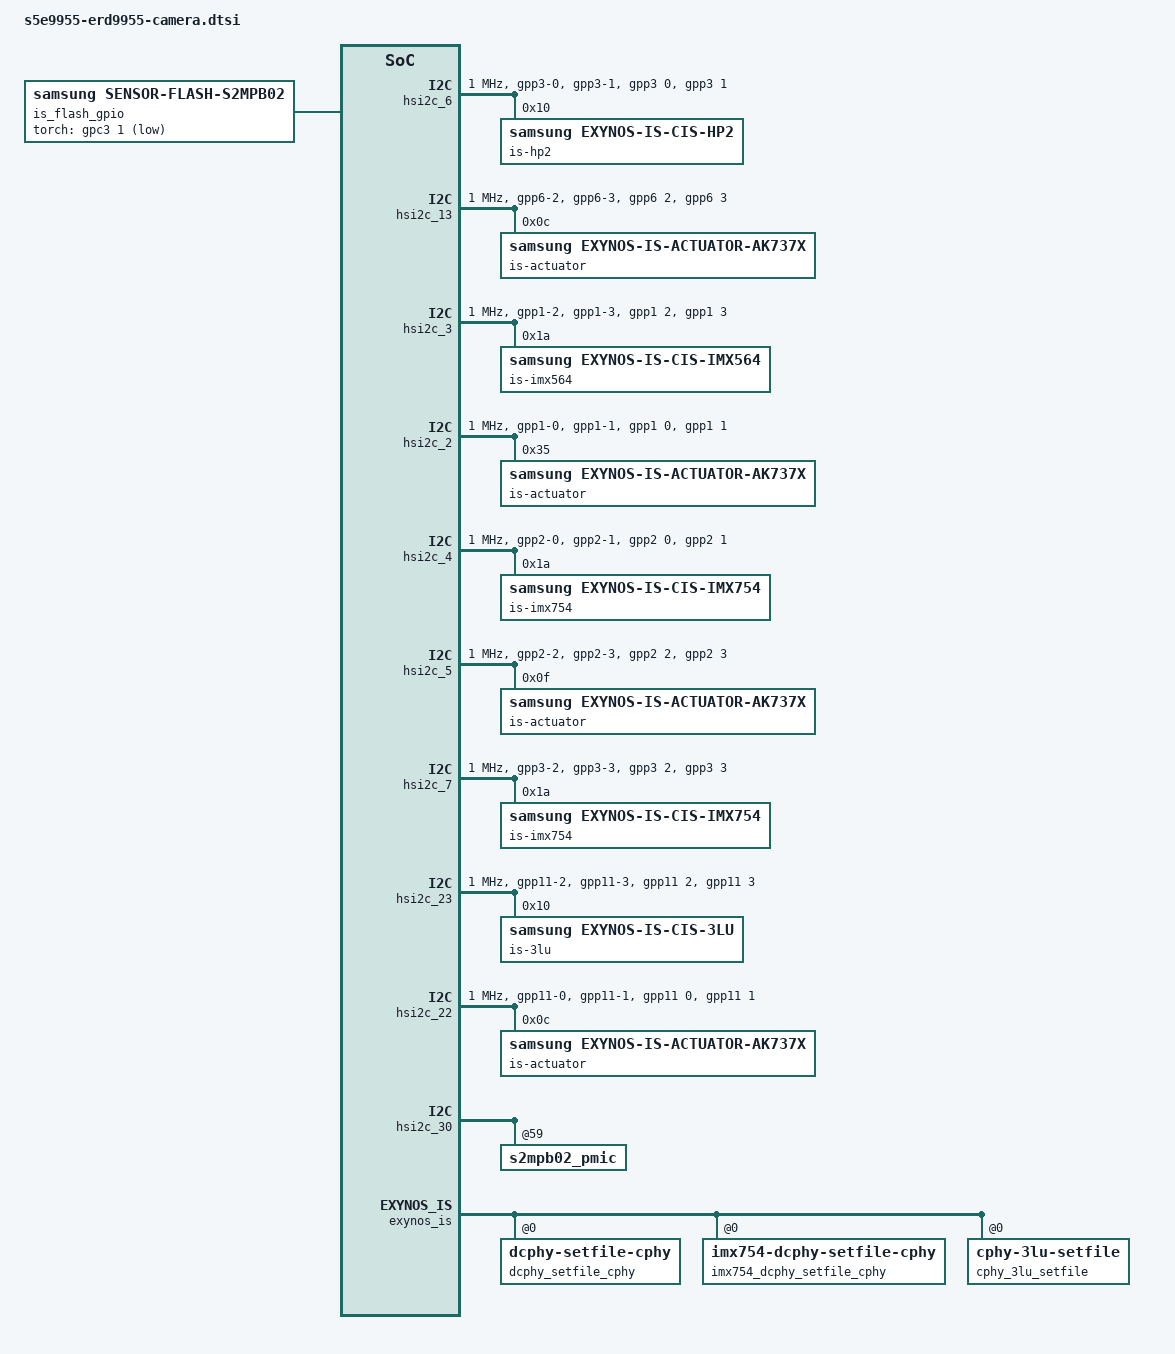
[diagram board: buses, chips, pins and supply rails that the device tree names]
// SPDX-License-Identifier: GPL-2.0
/*
 * Samsung Exynos SoC series Pablo driver
 *
 * Copyright (c) 2024 Samsung Electronics Co., Ltd
 *
 * This program is free software; you can redistribute it and/or modify
 * it under the terms of the GNU General Public License version 2 as
 * published by the Free Software Foundation.
 */

#include <dt-bindings/camera/exynos_is_dt.h>

#include "module_hp2.dtsi"
#include "module_imx754.dtsi"
#include "module_imx754_mirrorflip.dtsi"
#include "module_imx564.dtsi"
#include "module_3lu.dtsi"

/ {
	fragment@camera {
		target-path = "/";
		__overlay__ {
			#address-cells = <2>;
			#size-cells = <1>;
			interrupt-parent = <&gic>;

			is_flash_gpio: is-flash-gpio@0 {
				compatible = "samsung,sensor-flash-s2mpb02";
				sensor-module = <&is_sensor_hp2>,
						<&is_sensor_imx564>,
						<&is_sensor_imx754>,
						<&is_sensor_imx754_mirrorflip>;
				id = <0 4 2 3>;
				status = "okay";

				torch-gpio = <&gpc3 1 0x1>;
			};

			is_sensor_hp2: is_sensor_hp2@20 {
				modes {
						/* common = <width, height, fps, settle, mode, lane, speed, interleave, lrte, pd_mode> */
						/* vcX = <map, hwformat, width, height, hwformat, type, width, height> */
					mode10 { /* B-01 SENSOR_HP2_8160x6120_30FPS_4SUM */
						common = <8160 6120 30 0 10 CSI_DATA_LANES_3 3712 CSI_MODE_VC_DT LRTE_DISABLE PD_MOD3>;
						vc0 = </* in */ 0 HW_FORMAT_RAW10 DATA_IMG 8160 6120		/* out */ HW_FORMAT_RAW10 VC_NOTHING 8160 6120>;
						vc1 = </* in */ 2 HW_FORMAT_UNKNOWN DATA_NONE 0 0			/* out */ HW_FORMAT_UNKNOWN VC_NOTHING 0 0>;
						vc2 = </* in */ 1 HW_FORMAT_RAW10_POTF DATA_HPD 4080 764	/* out */ HW_FORMAT_RAW10_POTF_PACK VC_TAILPDAF 4080 764>;
						vc3 = </* in */ 3 HW_FORMAT_UNKNOWN DATA_NONE 0 0			/* out */ HW_FORMAT_UNKNOWN VC_NOTHING 0 0>;
						option { votf = <0>; special_mode = <IS_SPECIAL_MODE_REMOSAIC>; hw_bns = <HW_BNS_2_0>; };
					};
				};

				power_seq {
					scenario_normal_on {
						10 {
							pname = "sen_rst low";
							pin = <PIN_OUTPUT 0 0>;
							gpio = <&gpp5 0 0x1>;
						};
						110 {
							pname = "sen_rst high";
							pin = <PIN_OUTPUT 1 7870>;
							gpio = <&gpp5 0 0x1>;
						};
					};

					scenario_vision_on {
						10 {
							pname = "sen_rst low";
							pin = <PIN_OUTPUT 0 0>;
							gpio = <&gpp5 0 0x1>;
						};
						110 {
							pname = "sen_rst high";
							pin = <PIN_OUTPUT 1 7870>;
							gpio = <&gpp5 0 0x1>;
						};
					};

					scenario_normal_off {
						50 {
							pname = "(retention) sen_rst low";
							pin = <PIN_OUTPUT 0 10>;
							gpio = <&gpp5 0 0x1>;
						};
					};

					scenario_vision_off {
						50 {
							pname = "(retention) sen_rst low";
							pin = <PIN_OUTPUT 0 10>;
							gpio = <&gpp5 0 0x1>;
						};
					};

					scenario_retention_on {
						50 {
							pname = "(retention) sen_rst low";
							pin = <PIN_OUTPUT 0 10>;
							gpio = <&gpp5 0 0x1>;
						};
					};
				};
			};

			is_sensor_imx564: is_sensor_imx564@1A {
				power_seq {
					scenario_normal_on {
						10 {
							pname = "sen_rst low";
							pin = <PIN_OUTPUT 0 0>;
							gpio = <&gpp5 1 0x1>;
						};
						80 {
							pname = "sen_rst high";
							pin = <PIN_OUTPUT 1 0>;
							gpio = <&gpp5 1 0x1>;
						};
					};

					scenario_vision_on {
						10 {
							pname = "sen_rst low";
							pin = <PIN_OUTPUT 0 0>;
							gpio = <&gpp5 1 0x1>;
						};
						80 {
							pname = "sen_rst high";
							pin = <PIN_OUTPUT 1 0>;
							gpio = <&gpp5 1 0x1>;
						};
					};

					scenario_normal_off {
						10 {
							pname = "sen_rst low";
							pin = <PIN_OUTPUT 0 0>;
							gpio = <&gpp5 1 0x1>;
						};
					};

					scenario_vision_off {
						10 {
							pname = "sen_rst low";
							pin = <PIN_OUTPUT 0 0>;
							gpio = <&gpp5 1 0x1>;
						};
					};
				};
			};

			is_sensor_imx754: is_sensor_imx754@1A {
				power_seq {
					scenario_normal_on {
						80 {
							pname = "sen_rst high";
							pin = <PIN_OUTPUT 1 2400>;
							gpio = <&gpp5 2 0x1>;
						};
					};

					scenario_vision_on {
						80 {
							pname = "sen_rst high";
							pin = <PIN_OUTPUT 1 2400>;
							gpio = <&gpp5 2 0x1>;
						};
					};

					scenario_normal_off {
						10 {
							pname = "sen_rst low";
							pin = <PIN_OUTPUT 0 1800>;
							gpio = <&gpp5 2 0x1>;
						};
					};

					scenario_vision_off {
						10 {
							pname = "sen_rst low";
							pin = <PIN_OUTPUT 0 1800>;
							gpio = <&gpp5 2 0x1>;
						};
					};
				};
			};

			is_sensor_imx754_mirrorflip: is_sensor_imx754_mirrorflip@1A {
				power_seq {
					scenario_normal_on {
						70 {
							pname = "sen_rst high";
							pin = <PIN_OUTPUT 1 2400>;
							gpio = <&gpp5 3 0x1>;
						};
					};

					scenario_vision_on {
						70 {
							pname = "sen_rst high";
							pin = <PIN_OUTPUT 1 2400>;
							gpio = <&gpp5 3 0x1>;
						};
					};

					scenario_normal_off {
						10 {
							pname = "sen_rst_low";
							pin = <PIN_OUTPUT 0 1800>;
							gpio = <&gpp5 3 0x1>;
						};
					};

					scenario_vision_off {
						10 {
							pname = "sen_rst_low";
							pin = <PIN_OUTPUT 0 1800>;
							gpio = <&gpp5 3 0x1>;
						};
					};
				};
			};

			is_sensor_3lu: is_sensor_3lu@10 {
				sensor_i2c_ch = <6>; /* SENSOR_CONTROL_I2C6 */

				/* peri*/
				af {
					i2c_ch = <7>; /* SENSOR_CONTROL_I2C7 */
				};

				power_seq {
					scenario_normal_on {
						60 {
							pname = "rst_high";
							pin = <PIN_OUTPUT 1 0>;
							gpio = <&gpc3 0 0x1>;
						};
					};

					scenario_vision_on {
						60 {
							pname = "rst_high";
							pin = <PIN_OUTPUT 1 0>;
							gpio = <&gpc3 0 0x1>;
						};
					};

					scenario_normal_off {
						50 {
							pname = "rst_low";
							pin = <PIN_OUTPUT 0 0>;
							gpio = <&gpc3 0 0x1>;
						};
					};

					scenario_vision_off {
						50 {
							pname = "rst_low";
							pin = <PIN_OUTPUT 0 0>;
							gpio = <&gpc3 0 0x1>;
						};
					};
				};
			};

			/* REAR CAMERA */
			is_sensor0: is_sensor0@23880000 {
				reg = <0x0 0x23890000 0x1000>, /* MIPI-CSI1 */
					<0x0 0x238F0000 0x4000>, /* PHY: M0S4S4S4S4S4S4_S22 */
					<0x0 0x239D022C 0x10>, /* CSIS_FRO */
					<0x0 0x239D02A8 0x4>; /* EMB_LC MUX */
				scenario = <SENSOR_SCENARIO_NORMAL>; /* Normal, Vision, OIS etc */

				id = <0>;
				csi_ch = <1>;
				status = "okay";
				use_cphy = <1>;

				interrupts = <0 INTREQ__CSIS1 IRQ_TYPE_LEVEL_HIGH>; /* MIPI-CSI1 */
				phys = <&mipi_dcphy_csis1_m0s4s4s4s4s4s4_s22>;
				phy_setfile = <&dcphy_setfile_cphy>;
			};

			/* FRONT CAMERA */
			is_sensor1: is_sensor1@23890000 {
				reg = <0x0 0x23880000 0x1000>, /* MIPI-CSI0 */
					<0x0 0x238F0000 0x4000>, /* PHY: M0S4S4S4S4S4S4_S22 */
					<0x0 0x239D022C 0x10>, /* CSIS_FRO */
					<0x0 0x239D02A4 0x4>; /* EMB_LC MUX */
				scenario = <SENSOR_SCENARIO_NORMAL>; /* Normal, Vision, OIS etc */
				id = <1>;
				csi_ch = <0>;
				status = "okay";
				use_cphy = <1>;
				scramble = <1>; /* need to sync with sensor setting */

				interrupts = <0 INTREQ__CSIS0 IRQ_TYPE_LEVEL_HIGH>; /* MIPI-CSI0 */
				phys = <&mipi_dcphy_csis0_m0s4s4s4s4s4s4_s22>;
				phy_setfile = <&cphy_3lu_setfile>;
			};

			/* Tele x3 CAMERA */
			is_sensor2: is_sensor2@238A0000 {
				reg = <0x0 0x238A0000 0x1000>, /* MIPI-CSI2 */
					<0x0 0x238F0000 0x4000>, /* PHY: M0S4S4S4S4S4S4_S22 */
					<0x0 0x239D022C 0x10>, /* CSIS_FRO */
					<0x0 0x239D02AC 0x4>; /* EMB_LC MUX */
				scenario = <SENSOR_SCENARIO_NORMAL>; /* Normal, Vision, OIS etc */
				id = <2>;
				csi_ch = <2>;
				status = "okay";
				use_cphy = <1>;

				interrupts = <0 INTREQ__CSIS2 IRQ_TYPE_LEVEL_HIGH>; /* MIPI-CSI2 */
				phys = <&mipi_dcphy_csis2_m0s4s4s4s4s4s4_s22>;
				phy_setfile = <&imx754_dcphy_setfile_cphy>;
			};

			/* Tele x10 CAMERA */
			is_sensor3: is_sensor3@238B0000 {
				reg = <0x0 0x238C0000 0x1000>, /* MIPI-CSI4 */
					<0x0 0x238F0000 0x4000>, /* PHY: M0S4S4S4S4S4S4_S22 */
					<0x0 0x239D022C 0x10>, /* CSIS_FRO */
					<0x0 0x239D02B4 0x4>; /* EMB_LC MUX */
				scenario = <SENSOR_SCENARIO_NORMAL>; /* Normal, Vision, OIS etc */
				id = <3>;
				csi_ch = <4>;
				status = "okay";
				use_cphy = <1>;

				interrupts = <0 INTREQ__CSIS4 IRQ_TYPE_LEVEL_HIGH>; /* MIPI-CSI4 */
				phys = <&mipi_dcphy_csis4_m0s4s4s4s4s4s4_s22>;
				phy_setfile = <&dcphy_setfile_cphy>;
			};

			/* ULTRA WIDE CAMERA */
			is_sensor4: is_sensor4@238C0000 {
				reg = <0x0 0x238B0000 0x1000>, /* MIPI-CSI3 */
					<0x0 0x238F0000 0x4000>, /* PHY: M0S4S4S4S4S4S4_S22 */
					<0x0 0x239D022C 0x10>, /* CSIS_FRO */
					<0x0 0x239D02B0 0x4>; /* EMB_LC MUX */
				scenario = <SENSOR_SCENARIO_NORMAL>; /* Normal, Vision, OIS etc */
				id = <4>;
				csi_ch = <3>;
				status = "okay";
				use_cphy = <1>;

				interrupts = <0 INTREQ__CSIS3 IRQ_TYPE_LEVEL_HIGH>; /* MIPI-CSI3 */
				phys = <&mipi_dcphy_csis3_m0s4s4s4s4s4s4_s22>;
				phy_setfile = <&dcphy_setfile_cphy>;
			};

			is_sensor5: is_sensor5@238D0000 {
				scenario = <SENSOR_SCENARIO_NORMAL>; /* Normal, Vision, OIS etc */
				id = <1>;
				csi_ch = <1>;
				status = "disabled";
			};
		}; /* end of __overlay__ */
	}; /* end of fragment */
}; /* end of root */

/***** reference symbol node *****/
&pinctrl_7 {
	/* REAR WIDE */
	hsi2c6_bus_in: hsi2c6-bus-in {
		samsung,pins = "gpp3-0", "gpp3-1";
		samsung,pin-function = <0>;
		samsung,pin-pud = <0>;
		samsung,pin-drv = <0>;
	};

	/* REAR AF*/
	hsi2c13_bus_in: hsi2c13-bus-in {
		samsung,pins = "gpp6-2", "gpp6-3";
		samsung,pin-function = <0>;
		samsung,pin-pud = <0>;
		samsung,pin-drv = <0>;
	};

	/* REAR UW */
	hsi2c3_bus_in: hsi2c3-bus-in {
		samsung,pins = "gpp1-2", "gpp1-3";
		samsung,pin-function = <0>;
		samsung,pin-pud = <0>;
		samsung,pin-drv = <0>;
	};

	/* REAR UW AF*/
	hsi2c2_bus_in: hsi2c2-bus-in {
		samsung,pins = "gpp1-0", "gpp1-1";
		samsung,pin-function = <0>;
		samsung,pin-pud = <0>;
		samsung,pin-drv = <0>;
	};

	/* REAR TELE 3x */
	hsi2c4_bus_in: hsi2c4-bus-in {
		samsung,pins = "gpp2-0", "gpp2-1";
		samsung,pin-function = <0>;
		samsung,pin-pud = <0>;
		samsung,pin-drv = <0>;
	};

	/* Tele 3x AF */
	hsi2c5_bus_in: hsi2c5-bus-in {
		samsung,pins = "gpp2-2", "gpp2-3";
		samsung,pin-function = <0>;
		samsung,pin-pud = <0>;
		samsung,pin-drv = <0>;
	};

	/* Tele 10x */
	hsi2c7_bus_in: hsi2c7-bus-in {
		samsung,pins = "gpp3-2", "gpp3-3";
		samsung,pin-function = <0>;
		samsung,pin-pud = <0>;
		samsung,pin-drv = <0>;
	};

	/* Tele 10x AF */
	hsi2c12_bus_in: hsi2c12-bus-in {
		samsung,pins = "gpp6-0", "gpp6-1";
		samsung,pin-function = <0>;
		samsung,pin-pud = <0>;
		samsung,pin-drv = <0>;
	};

	/* FRONT */
	hsi2c23_bus_in: hsi2c23_bus_in-bus-in {
		samsung,pins = "gpp11-2", "gpp11-3";
		samsung,pin-function = <0>;
		samsung,pin-pud = <0>;
		samsung,pin-drv = <0>;
	};

	/* FRONT AF*/
	hsi2c22_bus_in: hsi2c22-bus-in {
		samsung,pins = "gpp11-0", "gpp11-1";
		samsung,pin-function = <0>;
		samsung,pin-pud = <0>;
		samsung,pin-drv = <0>;
	};
};

&hsi2c_6 {
	#address-cells = <1>;
	#size-cells = <0>;
	gpios = <&gpp3 0 0 &gpp3 1 0>;
	status = "okay";
	clock-frequency = <1000000>;
	samsung,reset-before-trans;
	samsung,fast-plus-mode;

	pinctrl-names = "default","on_i2c","off_i2c";
	pinctrl-0 = <&hsi2c6_bus_in>;
	pinctrl-1 = <&hsi2c6_bus>;
	pinctrl-2 = <&hsi2c6_bus_in>;

	is-hp2@10 {
		compatible = "samsung,exynos-is-cis-hp2";
		sensor-module = <&is_sensor_hp2>;
		reg = <0x10>; /* 1 bit right shift */
		id = <0>; /* matching is_sensor id */
		setfile = "setA";
		rev_reg = <0x0002 2 0xB000>;
	};
};

&hsi2c_13 {
	#address-cells = <1>;
	#size-cells = <0>;
	gpios = <&gpp6 2 0 &gpp6 3 0>;
	status = "okay";
	clock-frequency = <1000000>;
	samsung,reset-before-trans;
	samsung,fast-plus-mode;

	pinctrl-names = "default","on_i2c","off_i2c";
	pinctrl-0 = <&hsi2c13_bus_in>;
	pinctrl-1 = <&hsi2c13_bus>;
	pinctrl-2 = <&hsi2c13_bus_in>;

	is-actuator@C { /* wide AF */
		compatible = "samsung,exynos-is-actuator-ak737x";
		sensor-module = <&is_sensor_hp2>;
		reg = <0x0C>;
		id = <0>; /* matching is_sensor id */
		/* AK7314: addr 0xF3, data 0x19 */
		vendor_product_id = <0xF3 0x13 0xF3 0x19>;
		vendor_first_pos = <2000>;  /* 12bits */
		vendor_first_delay = <2000>;
		vendor_soft_landing_seqid = <3>;
		vendor_soft_landing_list = <640 30 64 30>; /* 1st_pos delay 2nd_pos delay */
		vendor_use_sleep_mode;
		vendor_use_standby_mode; /* AK7314 with vendor_use_sleep_mode */
		/* delay settings for AK7314 */
		vendor_sleep_to_standby_delay = <2200>;
		vendor_active_to_standby_delay = <300>;
	};
};

&hsi2c_3 {
	#address-cells = <1>;
	#size-cells = <0>;
	gpios = <&gpp1 2 0 &gpp1 3 0>;
	status = "okay";
	clock-frequency = <1000000>;
	samsung,reset-before-trans;
	samsung,fast-plus-mode;

	pinctrl-names = "default","on_i2c","off_i2c";
	pinctrl-0 = <&hsi2c3_bus_in>;
	pinctrl-1 = <&hsi2c3_bus>;
	pinctrl-2 = <&hsi2c3_bus_in>;

	is-imx564@1A { /* ultrawide */
		compatible = "samsung,exynos-is-cis-imx564";
		sensor-module = <&is_sensor_imx564>;
		reg = <0x1A>; /* 1 bit right shift */
		id = <4>; /* matching is_sensor id */
		setfile = "setA";
		status = "okay";
		rev_reg = <0x36F2 2 0x564D>;
		vendor_use_adaptive_mipi;
	};
};

&hsi2c_2 {
	#address-cells = <1>;
	#size-cells = <0>;
	gpios = <&gpp1 0 0 &gpp1 1 0>;
	status = "okay";
	clock-frequency = <1000000>;
	samsung,reset-before-trans;
	samsung,fast-plus-mode;

	pinctrl-names = "default","on_i2c","off_i2c";
	pinctrl-0 = <&hsi2c2_bus_in>;
	pinctrl-1 = <&hsi2c2_bus>;
	pinctrl-2 = <&hsi2c2_bus_in>;

	is-actuator@35 { /* uwide AF */
		compatible = "samsung,exynos-is-actuator-ak737x";
		reg = <0x35>;
		sensor-module = <&is_sensor_imx564>;
		id = <4>; /* matching is_sensor id */
		/* DW9825A */
		vendor_product_id = <0xF3 0x0E>;
		vendor_first_pos = <960>;  /* 12bits */
		vendor_first_delay = <2000>;
		vendor_use_sleep_mode;
		vendor_use_standby_mode; /* with vendor_use_sleep_mode */
		/* delay settings for DW9825A */
		vendor_sleep_to_standby_delay = <3000>;
		vendor_active_to_standby_delay = <300>;
	};
};

&hsi2c_4 {
	#address-cells = <1>;
	#size-cells = <0>;
	gpios = <&gpp2 0 0 &gpp2 1 0>;
	status = "okay";
	clock-frequency = <1000000>;
	samsung,reset-before-trans;
	samsung,fast-plus-mode;

	pinctrl-names = "default","on_i2c","off_i2c";
	pinctrl-0 = <&hsi2c4_bus_in>;
	pinctrl-1 = <&hsi2c4_bus>;
	pinctrl-2 = <&hsi2c4_bus_in>;

	is-imx754@1A { /* tele x3 */
		compatible = "samsung,exynos-is-cis-imx754";
		sensor-module = <&is_sensor_imx754>;
		reg = <0x1A>; /* 1 bit right shift */
		id = <2>; /* matching is_sensor id */
		setfile = "setA";
		rev_reg = <0x0018 1 0x30>;
		vendor_use_adaptive_mipi;
	};
};

&hsi2c_5 {
	#address-cells = <1>;
	#size-cells = <0>;
	gpios = <&gpp2 2 0 &gpp2 3 0>;
	status = "okay";
	clock-frequency = <1000000>;
	samsung,reset-before-trans;
	samsung,fast-plus-mode;

	pinctrl-names = "default","on_i2c","off_i2c";
	pinctrl-0 = <&hsi2c5_bus_in>;
	pinctrl-1 = <&hsi2c5_bus>;
	pinctrl-2 = <&hsi2c5_bus_in>;

	is-actuator@F { /* tele 3x AF */
		compatible = "samsung,exynos-is-actuator-ak737x";
		sensor-module = <&is_sensor_imx754>;
		reg = <0x0F>;
		id = <2>; /* matching is_sensor id */
		/* DW9825A */
		vendor_product_id = <0xF3 0x0E 0xF3 0x00 0xF3 0x19 0xF3 0x13>;
		vendor_first_pos = <960>;  /* 12bits */
		vendor_first_delay = <2000>;
		vendor_use_sleep_mode;
		vendor_use_standby_mode; /* with vendor_use_sleep_mode */
		/* delay settings for DW9825A */
		vendor_sleep_to_standby_delay = <3000>;
		vendor_active_to_standby_delay = <300>;
	};
};

&hsi2c_7 {
	#address-cells = <1>;
	#size-cells = <0>;
	gpios = <&gpp3 2 0 &gpp3 3 0>;
	status = "okay";
	clock-frequency = <1000000>;
	samsung,reset-before-trans;
	samsung,fast-plus-mode;

	pinctrl-names = "default","on_i2c","off_i2c";
	pinctrl-0 = <&hsi2c7_bus_in>;
	pinctrl-1 = <&hsi2c7_bus>;
	pinctrl-2 = <&hsi2c7_bus_in>;

	is-imx754@1A { /* tele x10 */
		compatible = "samsung,exynos-is-cis-imx754";
		sensor-module = <&is_sensor_imx754_mirrorflip>;
		reg = <0x1A>; /* 1 bit right shift */
		id = <3>; /* matching is_sensor id */
		setfile = "setB";
		rev_reg = <0x0018 1 0x30>;
		multicam_slave = <1>;
		vendor_use_adaptive_mipi;
	};
};

&hsi2c_23 {
	#address-cells = <1>;
	#size-cells = <0>;
	gpios = <&gpp11 2 0 &gpp11 3 0>;
	status = "okay";
	clock-frequency = <1000000>;
	samsung,reset-before-trans;
	samsung,fast-plus-mode;

	pinctrl-names = "default","on_i2c","off_i2c";
	pinctrl-0 = <&hsi2c23_bus_in>;
	pinctrl-1 = <&hsi2c23_bus>;
	pinctrl-2 = <&hsi2c23_bus_in>;

	is-3lu@10 { /* front */
		compatible = "samsung,exynos-is-cis-3lu";
		sensor-module = <&is_sensor_3lu>;
		reg = <0x10>; /* 1 bit right shift */
		id = <1>; /* matching is_sensor id */
		setfile = "default";
		rev_reg = <0x0002 2 0xA101>;
		vendor_use_adaptive_mipi;
	};

};

&hsi2c_22 {
	#address-cells = <1>;
	#size-cells = <0>;
	gpios = <&gpp11 0 0 &gpp11 1 0>;
	status = "okay";
	clock-frequency = <1000000>;
	samsung,reset-before-trans;
	samsung,fast-plus-mode;

	pinctrl-names = "default","on_i2c","off_i2c";
	pinctrl-0 = <&hsi2c22_bus_in>;
	pinctrl-1 = <&hsi2c22_bus>;
	pinctrl-2 = <&hsi2c22_bus_in>;

	is-actuator@C { /* front AF */
		compatible = "samsung,exynos-is-actuator-ak737x";
		sensor-module = <&is_sensor_3lu>;
		reg = <0x0C>;
		id = <1>; /* matching is_sensor id */
		/* DW9825A */
		vendor_product_id = <0xF3 0x0E>;
		vendor_first_pos = <960>;  /* 12bits */
		vendor_first_delay = <2000>;
		vendor_use_sleep_mode;
		vendor_use_standby_mode; /* with vendor_use_sleep_mode */
		/* delay settings for DW9825A */
		vendor_sleep_to_standby_delay = <3000>;
		vendor_active_to_standby_delay = <300>;
	};
};

&hsi2c_30 {
	s2mpb02_pmic@59 {
		torch {
			torch1-gpio = <&gpc3 1 0x1>;

			status = "okay";

			leds1 {
				ledname = "leds-sec1";
				id = <0>;
				brightness = <0xE>; /* adaptive Nx100+50 : 1450mA */
				timeout = <0x7>; /* (N+1)x62.5 : 500ms */
				torch_table_enable = <0>;
			};

			leds2 {
				ledname = "torch-sec1";
				id = <1>;
				brightness = <0xE>; /* Nx20 = 280mA */
				timeout = <0xF>;
				torch_table_enable = <1>;
				torch_table = <3 5 5 6 6 8 8 8 10 10>;
				/* 60mA 100mA 120mA 160mA 200mA */
			};
		};
	};
};

&exynos_is {
	vendor {
		use_module_check;
		use_ois;
		check_sensor_vendor;
		ois_sensor_index = <0>;
		aperture_sensor_index = <0>;
		mcu_sensor_index = <0>;

		is_vendor_sensor_count = <5>;
		max_supported_camera = <7>;
		supported_cameraId = <56 58 52 54 1 21 23>;
		ois_gyro_list = <0x01 0x01 0x30 0x01 0x01 0x00 0x01>;
		/*
		* Wide(0)
		* Front(1)
		* U Wide(2)
		* Front 80(3) - not available for factory
		* Rear ToF(4) - not available for factory
		* Front Secure(5) - not available for factory
		* Dual Zoom(20)
		* Dual Portrait Tele(21) - Main Tele/Sub Wide
		* Dual Portrait Wide(23) - Main Wide/Sub U Wide
		* Tele 2x2(50)
		* Tele 17.9(52)
		* Front_3(53)
		* Tele_2(54)
		* Front_4(55)
		* Rear_Wide(56)
		* Rear_UW(58)
		* REAR ToF(80)
		*/

		/* sysfs camera id */
		max_camera_num = <9>;
		sensor_name { /* position = "name" */
			0 = "S5KHP2";
			1 = "S5K3LU";
			2 = "IMX754";
			4 = "IMX564";
			6 = "IMX754";
		};

		sensor_id { /* position = <sensor_id> */
			0 = <74>;	/* S5KHP2 */
			1 = <75>;	/* S5K3LU */
			2 = <127>;	/* IMX754 */
			4 = <129>;	/* IMX564 */
			6 = <127>;	/* IMX754 */
		};

		camera_info0 {			/* 0 : sysfs rear */
			internal_id = <0>;	/* 0 : wide */
			isp = <0>;		/* 0 : INT, 1 : EXT, 2 : SOC */
			cal_memory = <2>;	/* 0 : N, 1 : FROM, 2 : EEPROM, 3 : OTP */
			read_version = <0>;	/* 0 : SYSFS, 1 : CAMON */
			core_voltage = <0>;	/* 0 : N, 1 : Y */
			upgrade = <0>;		/* 0 : N, 1 : SYSFS , 2 : CAMON */
			fw_write = <0>;		/* 0 : N, 1 : OS, 2 : SD, 3 : ALL */
			fw_dump = <0>;		/* 0 : N, 1 : Y */
			companion = <0>;	/* 0 : N, 1 : Y */
			ois = <1>;		/* 0 : N, 1 : Y */
			valid = <1>;		/* 0 : INVALID, 1 : VALID */
		};
		camera_info1 {			/* 1 : sysfs front */
			internal_id = <1>;	/* 1 : front master */
			isp = <0>;		/* 0 : INT, 1 : EXT, 2 : SOC */
			cal_memory = <2>;	/* 0 : N, 1 : FROM, 2 : EEPROM, 3 : OTP */
			read_version = <0>;	/* 0 : SYSFS, 1 : CAMON */
			core_voltage = <0>;	/* 0 : N, 1 : Y */
			upgrade = <0>;		/* 0 : N, 1 : SYSFS, 2 : CAMON */
			fw_write = <0>;		/* 0 : N, 1 : OS, 2 : SD, 3 : ALL */
			fw_dump = <0>;		/* 0 : N, 1 : Y */
			companion = <0>;	/* 0 : N, 1 : Y */
			ois = <0>;		/* 0 : N, 1 : Y */
			valid = <1>;		/* 0 : INVALID, 1 : VALID */
		};
		camera_info2 {			/* 2 : sysfs rear2 */
			internal_id = <4>;	/* 4 : ultra wide */
			isp = <0>;		/* 0 : INT, 1 : EXT, 2 : SOC */
			cal_memory = <2>;	/* 0 : N, 1 : FROM, 2 : EEPROM, 3 : OTP */
			read_version = <0>;	/* 0 : SYSFS, 1 : CAMON */
			core_voltage = <0>;	/* 0 : N, 1 : Y */
			upgrade = <0>;		/* 0 : N, 1 : SYSFS, 2 : CAMON */
			fw_write = <0>;		/* 0 : N, 1 : OS, 2 : SD, 3 : ALL */
			fw_dump = <0>;		/* 0 : N, 1 : Y */
			companion = <0>;	/* 0 : N, 1 : Y */
			ois = <0>;		/* 0 : N, 1 : Y */
			valid = <1>;		/* 0 : INVALID, 1 : VALID */
		};
		camera_info3 {			/* 3 : sysfs front2 */
			valid = <0>;		/* 0 : INVALID, 1 : VALID */
		};
		camera_info4 {			/* 4 : sysfs rear3 */
			internal_id = <2>;	/* 4 : tele */
			isp = <0>;		/* 0 : INT, 1 : EXT, 2 : SOC */
			cal_memory = <2>;	/* 0 : N, 1 : FROM, 2 : EEPROM, 3 : OTP */
			read_version = <0>;	/* 0 : SYSFS, 1 : CAMON */
			core_voltage = <0>;	/* 0 : N, 1 : Y */
			upgrade = <0>;		/* 0 : N, 1 : SYSFS, 2 : CAMON */
			fw_write = <0>;		/* 0 : N, 1 : OS, 2 : SD, 3 : ALL */
			fw_dump = <0>;		/* 0 : N, 1 : Y */
			companion = <0>;	/* 0 : N, 1 : Y */
			ois = <1>;		/* 0 : N, 1 : Y */
			valid = <1>;		/* 0 : INVALID, 1 : VALID   */
		};
		camera_info5 {			/* 5 : sysfs front3 */
			valid = <0>;		/* 0 : INVALID, 1 : VALID */
		};
		camera_info6 {			/* 6 : sysfs rear4 */
			internal_id = <6>;	/* 6 : tele x10 */
			isp = <0>;		/* 0 : INT, 1 : EXT, 2 : SOC */
			cal_memory = <2>;	/* 0 : N, 1 : FROM, 2 : EEPROM, 3 : OTP */
			read_version = <0>;	/* 0 : SYSFS, 1 : CAMON */
			core_voltage = <0>;	/* 0 : N, 1 : Y */
			upgrade = <0>;		/* 0 : N, 1 : SYSFS, 2 : CAMON */
			fw_write = <0>;		/* 0 : N, 1 : OS, 2 : SD, 3 : ALL */
			fw_dump = <0>;		/* 0 : N, 1 : Y */
			companion = <0>;	/* 0 : N, 1 : Y */
			ois = <1>;		/* 0 : N, 1 : Y */
			valid = <1>;		/* 0 : INVALID, 1 : VALID   */
		};
		camera_info7 {			/* 7 : sysfs front4 */
			valid = <0>;		/* 0 : INVALID, 1 : VALID */
		};
		camera_info8 {			/* 8 : sysfs rear tof */
			valid = <0>;		/* 0 : INVALID, 1 : VALID */
		};
	};

	lic_offsets {
		/* 3AA = <setA lic offset0, setA lic offset1, set A trigger context */
		/*		setB lic offset0, setB lic offset1, set B trigger context> */
		/* 4672: 4640x4352 */
		/* 5824: 5804x4352 */
		3AA = <5461 10922 16383 0 5461 10922 16383 0>;
	};

	is_dvfs {
		table0 {
			desc = "dvfs table v0.0";

			default_int_cam = <0>;
			default_cam = <0>;
			default_csis = <0>;
			default_isp = <0>;
			default_mif = <0>;
			default_int = <0>;
			default_icpu = <0>;

			rear_single_photo_cam = <6>;
			rear_single_photo_isp = <9>;
			rear_single_photo_int_cam = <4>;
			rear_single_photo_mif = <9>;
			rear_single_photo_int = <1>;
			rear_single_photo_icpu = <3>;

			rear_single_photo_full_cam = <6>;
			rear_single_photo_full_isp = <9>;
			rear_single_photo_full_int_cam = <4>;
			rear_single_photo_full_mif = <9>;
			rear_single_photo_full_int = <1>;
			rear_single_photo_full_icpu = <3>;

			rear_single_video_fhd30_cam = <6>;
			rear_single_video_fhd30_isp = <9>;
			rear_single_video_fhd30_int_cam = <4>;
			rear_single_video_fhd30_mif = <9>;
			rear_single_video_fhd30_int = <2>;
			rear_single_video_fhd30_icpu = <3>;

			rear_single_video_fhd30_supersteady_cam = <6>;
			rear_single_video_fhd30_supersteady_isp = <9>;
			rear_single_video_fhd30_supersteady_int_cam = <4>;
			rear_single_video_fhd30_supersteady_mif = <9>;
			rear_single_video_fhd30_supersteady_int = <7>;
			rear_single_video_fhd30_supersteady_icpu = <3>;

			rear_single_video_fhd30_recursive_cam = <6>;
			rear_single_video_fhd30_recursive_isp = <8>;
			rear_single_video_fhd30_recursive_int_cam = <4>;
			rear_single_video_fhd30_recursive_mif = <7>;
			rear_single_video_fhd30_recursive_int = <1>;
			rear_single_video_fhd30_recursive_icpu = <3>;

			rear_single_video_fhd60_cam = <6>;
			rear_single_video_fhd60_isp = <9>;
			rear_single_video_fhd60_int_cam = <4>;
			rear_single_video_fhd60_mif = <7>;
			rear_single_video_fhd60_int = <2>;
			rear_single_video_fhd60_icpu = <3>;

			rear_single_video_fhd60_supersteady_cam = <6>;
			rear_single_video_fhd60_supersteady_isp = <8>;
			rear_single_video_fhd60_supersteady_int_cam = <4>;
			rear_single_video_fhd60_supersteady_mif = <7>;
			rear_single_video_fhd60_supersteady_int = <7>;
			rear_single_video_fhd60_supersteady_icpu = <3>;

			rear_single_video_uhd30_cam = <6>;
			rear_single_video_uhd30_isp = <9>;
			rear_single_video_uhd30_int_cam = <4>;
			rear_single_video_uhd30_mif = <7>;
			rear_single_video_uhd30_int = <7>;
			rear_single_video_uhd30_icpu = <3>;

			rear_single_video_uhd30_supersteady_cam = <6>;
			rear_single_video_uhd30_supersteady_isp = <9>;
			rear_single_video_uhd30_supersteady_int_cam = <4>;
			rear_single_video_uhd30_supersteady_mif = <7>;
			rear_single_video_uhd30_supersteady_int = <7>;
			rear_single_video_uhd30_supersteady_icpu = <0>;

			rear_single_video_uhd30_recursive_cam = <5>;
			rear_single_video_uhd30_recursive_isp = <6>;
			rear_single_video_uhd30_recursive_int_cam = <4>;
			rear_single_video_uhd30_recursive_mif = <5>;
			rear_single_video_uhd30_recursive_int = <7>;
			rear_single_video_uhd30_recursive_icpu = <3>;

			rear_single_video_uhd60_cam = <6>;
			rear_single_video_uhd60_isp = <8>;
			rear_single_video_uhd60_int_cam = <4>;
			rear_single_video_uhd60_mif = <5>;
			rear_single_video_uhd60_int = <6>;
			rear_single_video_uhd60_icpu = <3>;

			rear_single_video_uhd60_supersteady_cam = <6>;
			rear_single_video_uhd60_supersteady_isp = <8>;
			rear_single_video_uhd60_supersteady_int_cam = <4>;
			rear_single_video_uhd60_supersteady_mif = <5>;
			rear_single_video_uhd60_supersteady_int = <6>;
			rear_single_video_uhd60_supersteady_icpu = <2>;

			rear_single_capture_cam = <4>;
			rear_single_capture_isp = <8>;
			rear_single_capture_int_cam = <0>;
			rear_single_capture_mif = <5>;
			rear_single_capture_int = <0>;
			rear_single_capture_icpu = <1>;

			rear_single_video_fhd120_cam = <6>;
			rear_single_video_fhd120_isp = <8>;
			rear_single_video_fhd120_int_cam = <4>;
			rear_single_video_fhd120_mif = <7>;
			rear_single_video_fhd120_int = <1>;
			rear_single_video_fhd120_icpu = <3>;

			rear_single_video_uhd120_cam = <5>;
			rear_single_video_uhd120_isp = <6>;
			rear_single_video_uhd120_int_cam = <4>;
			rear_single_video_uhd120_mif = <5>;
			rear_single_video_uhd120_int = <0>;
			rear_single_video_uhd120_icpu = <3>;

			rear_single_video_fhd240_cam = <6>;
			rear_single_video_fhd240_isp = <6>;
			rear_single_video_fhd240_int_cam = <4>;
			rear_single_video_fhd240_mif = <5>;
			rear_single_video_fhd240_int = <1>;
			rear_single_video_fhd240_icpu = <3>;

			rear_single_video_fhd480_cam = <1>;
			rear_single_video_fhd480_isp = <1>;
			rear_single_video_fhd480_int_cam = <1>;
			rear_single_video_fhd480_mif = <1>;
			rear_single_video_fhd480_int = <1>;
			rear_single_video_fhd480_icpu = <0>;

			rear_single_ssm_cam = <6>;
			rear_single_ssm_isp = <6>;
			rear_single_ssm_int_cam = <4>;
			rear_single_ssm_mif = <5>;
			rear_single_ssm_int = <1>;
			rear_single_ssm_icpu = <3>;

			rear_single_remosaic_photo_cam = <6>;
			rear_single_remosaic_photo_isp = <9>;
			rear_single_remosaic_photo_int_cam = <4>;
			rear_single_remosaic_photo_mif = <5>;
			rear_single_remosaic_photo_int = <1>;
			rear_single_remosaic_photo_icpu = <3>;

			rear_single_remosaic_capture_cam = <4>;
			rear_single_remosaic_capture_isp = <6>;
			rear_single_remosaic_capture_int_cam = <0>;
			rear_single_remosaic_capture_mif = <5>;
			rear_single_remosaic_capture_int = <0>;
			rear_single_remosaic_capture_icpu = <1>;

			rear_single_vt_cam = <6>;
			rear_single_vt_isp = <9>;
			rear_single_vt_int_cam = <4>;
			rear_single_vt_mif = <9>;
			rear_single_vt_int = <1>;
			rear_single_vt_icpu = <3>;

			rear_single_video_8k24_cam = <6>;
			rear_single_video_8k24_isp = <6>;
			rear_single_video_8k24_int_cam = <4>;
			rear_single_video_8k24_mif = <5>;
			rear_single_video_8k24_int = <4>;
			rear_single_video_8k24_icpu = <3>;

			rear_single_video_8k24_hf_cam = <6>;
			rear_single_video_8k24_hf_isp = <6>;
			rear_single_video_8k24_hf_int_cam = <4>;
			rear_single_video_8k24_hf_mif = <5>;
			rear_single_video_8k24_hf_int = <3>;
			rear_single_video_8k24_hf_icpu = <3>;

			rear_single_video_8k30_cam = <6>;
			rear_single_video_8k30_isp = <6>;
			rear_single_video_8k30_int_cam = <4>;
			rear_single_video_8k30_mif = <5>;
			rear_single_video_8k30_int = <4>;
			rear_single_video_8k30_icpu = <3>;

			rear_single_video_8k30_hf_cam = <6>;
			rear_single_video_8k30_hf_isp = <6>;
			rear_single_video_8k30_hf_int_cam = <4>;
			rear_single_video_8k30_hf_mif = <5>;
			rear_single_video_8k30_hf_int = <2>;
			rear_single_video_8k30_hf_icpu = <3>;

			rear_single_fastae_cam = <0>;
			rear_single_fastae_isp = <0>;
			rear_single_fastae_int_cam = <0>;
			rear_single_fastae_mif = <0>;
			rear_single_fastae_int = <0>;
			rear_single_fastae_icpu = <0>;

			rear_dual_photo_cam = <4>;
			rear_dual_photo_isp = <9>;
			rear_dual_photo_int_cam = <4>;
			rear_dual_photo_mif = <9>;
			rear_dual_photo_int = <0>;
			rear_dual_photo_icpu = <2>;

			rear_dual_video_fhd30_cam = <4>;
			rear_dual_video_fhd30_isp = <9>;
			rear_dual_video_fhd30_int_cam = <4>;
			rear_dual_video_fhd30_mif = <9>;
			rear_dual_video_fhd30_int = <0>;
			rear_dual_video_fhd30_icpu = <2>;

			rear_dual_video_fhd60_cam = <4>;
			rear_dual_video_fhd60_isp = <9>;
			rear_dual_video_fhd60_int_cam = <4>;
			rear_dual_video_fhd60_mif = <6>;
			rear_dual_video_fhd60_int = <1>;
			rear_dual_video_fhd60_icpu = <2>;

			rear_dual_video_uhd30_cam = <4>;
			rear_dual_video_uhd30_isp = <9>;
			rear_dual_video_uhd30_int_cam = <4>;
			rear_dual_video_uhd30_mif = <6>;
			rear_dual_video_uhd30_int = <0>;
			rear_dual_video_uhd30_icpu = <2>;

			rear_dual_video_uhd60_cam = <4>;
			rear_dual_video_uhd60_isp = <8>;
			rear_dual_video_uhd60_int_cam = <4>;
			rear_dual_video_uhd60_mif = <5>;
			rear_dual_video_uhd60_int = <1>;
			rear_dual_video_uhd60_icpu = <2>;

			rear_dual_capture_cam = <2>;
			rear_dual_capture_isp = <8>;
			rear_dual_capture_int_cam = <0>;
			rear_dual_capture_mif = <5>;
			rear_dual_capture_int = <0>;
			rear_dual_capture_icpu = <1>;

			triple_photo_cam = <2>;
			triple_photo_isp = <9>;
			triple_photo_int_cam = <4>;
			triple_photo_mif = <7>;
			triple_photo_int = <0>;
			triple_photo_icpu = <0>;

			triple_video_fhd30_cam = <2>;
			triple_video_fhd30_isp = <9>;
			triple_video_fhd30_int_cam = <4>;
			triple_video_fhd30_mif = <7>;
			triple_video_fhd30_int = <0>;
			triple_video_fhd30_icpu = <0>;

			triple_video_fhd60_cam = <2>;
			triple_video_fhd60_isp = <9>;
			triple_video_fhd60_int_cam = <4>;
			triple_video_fhd60_mif = <6>;
			triple_video_fhd60_int = <0>;
			triple_video_fhd60_icpu = <0>;

			triple_video_uhd30_cam = <2>;
			triple_video_uhd30_isp = <9>;
			triple_video_uhd30_int_cam = <4>;
			triple_video_uhd30_mif = <6>;
			triple_video_uhd30_int = <0>;
			triple_video_uhd30_icpu = <0>;

			triple_video_uhd60_cam = <2>;
			triple_video_uhd60_isp = <9>;
			triple_video_uhd60_int_cam = <4>;
			triple_video_uhd60_mif = <5>;
			triple_video_uhd60_int = <0>;
			triple_video_uhd60_icpu = <0>;

			triple_capture_cam = <1>;
			triple_capture_isp = <8>;
			triple_capture_int_cam = <0>;
			triple_capture_mif = <5>;
			triple_capture_int = <0>;
			triple_capture_icpu = <0>;

			front_single_photo_cam = <7>;
			front_single_photo_isp = <9>;
			front_single_photo_int_cam = <4>;
			front_single_photo_mif = <9>;
			front_single_photo_int = <0>;
			front_single_photo_icpu = <3>;

			front_single_photo_full_cam = <7>;
			front_single_photo_full_isp = <9>;
			front_single_photo_full_int_cam = <4>;
			front_single_photo_full_mif = <9>;
			front_single_photo_full_int = <0>;
			front_single_photo_full_icpu = <3>;

			front_single_video_fhd30_cam = <7>;
			front_single_video_fhd30_isp = <9>;
			front_single_video_fhd30_int_cam = <4>;
			front_single_video_fhd30_mif = <9>;
			front_single_video_fhd30_int = <3>;
			front_single_video_fhd30_icpu = <3>;

			front_single_video_fhd30_recursive_cam = <1>;
			front_single_video_fhd30_recursive_isp = <1>;
			front_single_video_fhd30_recursive_int_cam = <1>;
			front_single_video_fhd30_recursive_mif = <1>;
			front_single_video_fhd30_recursive_int = <1>;
			front_single_video_fhd30_recursive_icpu = <0>;

			front_single_video_uhd30_cam = <7>;
			front_single_video_uhd30_isp = <9>;
			front_single_video_uhd30_int_cam = <4>;
			front_single_video_uhd30_mif = <7>;
			front_single_video_uhd30_int = <3>;
			front_single_video_uhd30_icpu = <3>;

			front_single_video_uhd30_recursive_cam = <1>;
			front_single_video_uhd30_recursive_isp = <1>;
			front_single_video_uhd30_recursive_int_cam = <1>;
			front_single_video_uhd30_recursive_mif = <8>;
			front_single_video_uhd30_recursive_int = <3>;
			front_single_video_uhd30_recursive_icpu = <0>;

			front_single_video_fhd60_cam = <7>;
			front_single_video_fhd60_isp = <9>;
			front_single_video_fhd60_int_cam = <4>;
			front_single_video_fhd60_mif = <7>;
			front_single_video_fhd60_int = <3>;
			front_single_video_fhd60_icpu = <3>;

			front_single_video_uhd60_cam = <7>;
			front_single_video_uhd60_isp = <8>;
			front_single_video_uhd60_int_cam = <4>;
			front_single_video_uhd60_mif = <5>;
			front_single_video_uhd60_int = <3>;
			front_single_video_uhd60_icpu = <3>;

			front_single_capture_cam = <4>;
			front_single_capture_isp = <9>;
			front_single_capture_int_cam = <0>;
			front_single_capture_mif = <5>;
			front_single_capture_int = <0>;
			front_single_capture_icpu = <1>;

			front_single_vt_cam = <7>;
			front_single_vt_isp = <9>;
			front_single_vt_int_cam = <4>;
			front_single_vt_mif = <9>;
			front_single_vt_int = <1>;
			front_single_vt_icpu = <3>;

			front_single_fastae_cam = <7>;
			front_single_fastae_isp = <9>;
			front_single_fastae_int_cam = <4>;
			front_single_fastae_mif = <9>;
			front_single_fastae_int = <0>;
			front_single_fastae_icpu = <3>;

			front_single_video_uhd120_cam = <7>;
			front_single_video_uhd120_isp = <6>;
			front_single_video_uhd120_int_cam = <4>;
			front_single_video_uhd120_mif = <5>;
			front_single_video_uhd120_int = <1>;
			front_single_video_uhd120_icpu = <3>;

			front_single_video_fhd120_cam = <7>;
			front_single_video_fhd120_isp = <6>;
			front_single_video_fhd120_int_cam = <4>;
			front_single_video_fhd120_mif = <7>;
			front_single_video_fhd120_int = <0>;
			front_single_video_fhd120_icpu = <3>;

			pip_dual_photo_cam = <4>;
			pip_dual_photo_isp = <9>;
			pip_dual_photo_int_cam = <4>;
			pip_dual_photo_mif = <7>;
			pip_dual_photo_int = <0>;
			pip_dual_photo_icpu = <2>;

			pip_dual_capture_cam = <2>;
			pip_dual_capture_isp = <8>;
			pip_dual_capture_int_cam = <0>;
			pip_dual_capture_mif = <5>;
			pip_dual_capture_int = <0>;
			pip_dual_capture_icpu = <1>;

			pip_dual_video_fhd30_cam = <4>;
			pip_dual_video_fhd30_isp = <9>;
			pip_dual_video_fhd30_int_cam = <4>;
			pip_dual_video_fhd30_mif = <7>;
			pip_dual_video_fhd30_int = <0>;
			pip_dual_video_fhd30_icpu = <2>;

			pip_dual_video_uhd30_cam = <1>;
			pip_dual_video_uhd30_isp = <1>;
			pip_dual_video_uhd30_int_cam = <1>;
			pip_dual_video_uhd30_mif = <1>;
			pip_dual_video_uhd30_int = <1>;
			pip_dual_video_uhd30_icpu = <0>;

			sensor_only_rear_single_cam = <1>;
			sensor_only_rear_single_isp = <1>;
			sensor_only_rear_single_int_cam = <1>;
			sensor_only_rear_single_mif = <1>;
			sensor_only_rear_single_int = <1>;
			sensor_only_rear_single_icpu = <0>;

			sensor_only_front_cam = <1>;
			sensor_only_front_isp = <1>;
			sensor_only_front_int_cam = <1>;
			sensor_only_front_mif = <1>;
			sensor_only_front_int = <1>;
			sensor_only_front_icpu = <0>;

			throttling_cam = <0>;
			throttling_isp = <0>;
			throttling_int_cam = <5>; /* 234 */
			throttling_mif = <7>; /* 1539 */
			throttling_int = <0>;
			throttling_icpu = <0>;

			max_csis = <0>;
			max_cam = <0>;
			max_isp = <0>;
			max_int_cam = <0>;
			max_mif = <0>;
			max_int = <0>;
			max_icpu = <0>;
		};
	};

	dcphy_setfile_cphy: dcphy-setfile-cphy@0 {
		comm {
			/* bias */
			0  = <0x0000 0 32 0x00100004 IDX_BIA_VAL 0>; /* BIAS_CON0 */
			1  = <0x0004 0 32 0x00003023 IDX_BIA_VAL 0>; /* BIAS_CON1 */
			2  = <0x0008 0 32 0x00000140 IDX_BIA_VAL 0>; /* BIAS_CON2 */

			/* Clock lane */
			3  = <0x000C 0 32 0x82090004 IDX_FIX_VAL 0>; /* SC_ANA_CON1 */
			4  = <0x0010 0 32 0x00004000 IDX_FIX_VAL 0>; /* SC_ANA_CON2 */
		};

		lane {
			0  = <0x0000 0 32 0x3C000000 IDX_FIX_VAL 3>; /* CSD_GNR_CON0 */
			1  = <0x000C 0 32 0x82090007 IDX_FIX_VAL 4>; /* CSD/SD_ANA_CON1 */
			2  = <0x0010 0 32 0x00002000 IDX_FIX_VAL 4>; /* SD_ANA_CON2 */
			3  = <0x0010 0 32 0x09004000 IDX_FIX_VAL 3>; /* CSD_ANA_CON2 */
			4  = <0x0014 0 32 0x00400808 IDX_FIX_VAL 3>; /* CSD_ANA_CON3 */
			5  = <0x0030 0 32 0x00280000 IDX_FIX_VAL 3>; /* CSD_TIME_CON0 */
			6  = <0x0030 8  1 0x00000000 IDX_STL_CLK 3>; /* CSD_TIME_CON0 */
			7  = <0x0034 0 32 0x00000040 IDX_FIX_VAL 3>; /* CSD_TIME_CON1 */
			8  = <0x0050 0 32 0x15010000 IDX_FIX_VAL 3>; /* CSD_CRC_CON0 */
			9  = <0x0054 0 32 0x0000000F IDX_FIX_VAL 3>; /* CSD_CRC_CON1 */
			10 = <0x0070 0 32 0x00000030 IDX_FIX_VAL 3>; /* CSD_TEST_CON0 */
		};

		eq {
			0 {
				0  = <0x0008 0 32 0xECD2103B IDX_FIX_VAL 3>; /* CSD_ANA_CON0 */

				/* Data enable should be set at last */
				1 = <0x0000 0 1 0x00000001 IDX_FIX_VAL 3>; /* CSD_GNR_CON0 */
			};

			1500 {
				0  = <0x0008 0 32 0xECD2103B IDX_FIX_VAL 3>; /* CSD_ANA_CON0 */

				/* Data enable should be set at last */
				1 = <0x0000 0 1 0x00000001 IDX_FIX_VAL 3>; /* CSD_GNR_CON0 */
			};

			2000 {
				0  = <0x0008 0 32 0xECD2103B IDX_FIX_VAL 3>; /* CSD_ANA_CON0 */

				/* Data enable should be set at last */
				1 = <0x0000 0 1 0x00000001 IDX_FIX_VAL 3>; /* CSD_GNR_CON0 */
			};

			2500 {
				0  = <0x0008 0 32 0xECB1107B IDX_FIX_VAL 3>; /* CSD_ANA_CON0 */

				/* Data enable should be set at last */
				1 = <0x0000 0 1 0x00000001 IDX_FIX_VAL 3>; /* CSD_GNR_CON0 */
			};

			3000 {
				0  = <0x0008 0 32 0xECB1107B IDX_FIX_VAL 3>; /* CSD_ANA_CON0 */

				/* Data enable should be set at last */
				1 = <0x0000 0 1 0x00000001 IDX_FIX_VAL 3>; /* CSD_GNR_CON0 */
			};

			3500 {
				0  = <0x0008 0 32 0xECB1107B IDX_FIX_VAL 3>; /* CSD_ANA_CON0 */

				/* Data enable should be set at last */
				1 = <0x0000 0 1 0x00000001 IDX_FIX_VAL 3>; /* CSD_GNR_CON0 */
			};
		};
	};

	imx754_dcphy_setfile_cphy: imx754-dcphy-setfile-cphy@0 {
		comm {
			/* bias */
			0  = <0x0000 0 32 0x00100004 IDX_BIA_VAL 0>; /* BIAS_CON0 */
			1  = <0x0004 0 32 0x00003023 IDX_BIA_VAL 0>; /* BIAS_CON1 */
			2  = <0x0008 0 32 0x00000140 IDX_BIA_VAL 0>; /* BIAS_CON2 */

			/* Clock lane */
			3  = <0x000C 0 32 0x82090004 IDX_FIX_VAL 0>; /* SC_ANA_CON1 */
			4  = <0x0010 0 32 0x00004000 IDX_FIX_VAL 0>; /* SC_ANA_CON2 */
		};

		lane {
			0  = <0x0000 0 32 0x3C000000 IDX_FIX_VAL 3>; /* CSD_GNR_CON0 */
			1  = <0x000C 0 32 0x82090007 IDX_FIX_VAL 4>; /* CSD/SD_ANA_CON1 */
			2  = <0x0010 0 32 0x00002000 IDX_FIX_VAL 4>; /* SD_ANA_CON2 */
			3  = <0x0010 0 32 0x09004000 IDX_FIX_VAL 3>; /* CSD_ANA_CON2 */
			4  = <0x0014 0 32 0x00400808 IDX_FIX_VAL 3>; /* CSD_ANA_CON3 */
			5  = <0x0030 0 32 0x00280000 IDX_FIX_VAL 3>; /* CSD_TIME_CON0 */
			6  = <0x0030 8  1 0x00000000 IDX_STL_CLK 3>; /* CSD_TIME_CON0 */
			7  = <0x0034 0 32 0x00000040 IDX_FIX_VAL 3>; /* CSD_TIME_CON1 */
			8  = <0x0050 0 32 0x150100F1 IDX_FIX_VAL 3>; /* CSD_CRC_CON0 */
			9  = <0x0054 0 32 0x0000000F IDX_FIX_VAL 3>; /* CSD_CRC_CON1 */
			10 = <0x0070 0 32 0x00000030 IDX_FIX_VAL 3>; /* CSD_TEST_CON0 */
		};

		eq {
			0 {
				0  = <0x0008 0 32 0xECD2103B IDX_FIX_VAL 3>; /* CSD_ANA_CON0 */

				/* Data enable should be set at last */
				1 = <0x0000 0 1 0x00000001 IDX_FIX_VAL 3>; /* CSD_GNR_CON0 */
			};

			1500 {
				0  = <0x0008 0 32 0xECD2103B IDX_FIX_VAL 3>; /* CSD_ANA_CON0 */

				/* Data enable should be set at last */
				1 = <0x0000 0 1 0x00000001 IDX_FIX_VAL 3>; /* CSD_GNR_CON0 */
			};

			2000 {
				0  = <0x0008 0 32 0xECD2103B IDX_FIX_VAL 3>; /* CSD_ANA_CON0 */

				/* Data enable should be set at last */
				1 = <0x0000 0 1 0x00000001 IDX_FIX_VAL 3>; /* CSD_GNR_CON0 */
			};

			2500 {
				0  = <0x0008 0 32 0xECB1107B IDX_FIX_VAL 3>; /* CSD_ANA_CON0 */

				/* Data enable should be set at last */
				1 = <0x0000 0 1 0x00000001 IDX_FIX_VAL 3>; /* CSD_GNR_CON0 */
			};

			3000 {
				0  = <0x0008 0 32 0xECB1107B IDX_FIX_VAL 3>; /* CSD_ANA_CON0 */

				/* Data enable should be set at last */
				1 = <0x0000 0 1 0x00000001 IDX_FIX_VAL 3>; /* CSD_GNR_CON0 */
			};

			3500 {
				0  = <0x0008 0 32 0xECB1107B IDX_FIX_VAL 3>; /* CSD_ANA_CON0 */

				/* Data enable should be set at last */
				1 = <0x0000 0 1 0x00000001 IDX_FIX_VAL 3>; /* CSD_GNR_CON0 */
			};
		};
	};

	cphy_3lu_setfile: cphy-3lu-setfile@0 {
		comm {
			/* bias */
			0  = <0x0000 0 32 0x00100004 IDX_BIA_VAL 0>; /* BIAS_CON0 */
			1  = <0x0004 0 32 0x00003023 IDX_BIA_VAL 0>; /* BIAS_CON1 */
			2  = <0x0008 0 32 0x00000140 IDX_BIA_VAL 0>; /* BIAS_CON2 */

			/* Clock lane */
			3  = <0x000C 0 32 0x82090004 IDX_FIX_VAL 0>; /* SC_ANA_CON1 */
			4  = <0x0010 0 32 0x00004000 IDX_FIX_VAL 0>; /* SC_ANA_CON2 */
		};

		lane {
			0  = <0x0000 0 32 0x3C000000 IDX_FIX_VAL 3>; /* CSD_GNR_CON0 */
			1  = <0x000C 0 32 0x82090007 IDX_FIX_VAL 4>; /* CSD/SD_ANA_CON1 */
			2  = <0x0010 0 32 0x00002000 IDX_FIX_VAL 4>; /* SD_ANA_CON2 */
			3  = <0x0010 0 32 0x09004000 IDX_FIX_VAL 3>; /* CSD_ANA_CON2 */
			4  = <0x0014 0 32 0x00400808 IDX_FIX_VAL 3>; /* CSD_ANA_CON3 */
			5  = <0x0030 0 32 0x00280000 IDX_FIX_VAL 3>; /* CSD_TIME_CON0 */
			6  = <0x0030 8  1 0x00000000 IDX_STL_CLK 3>; /* CSD_TIME_CON0 */
			7  = <0x0034 0 32 0x00000040 IDX_FIX_VAL 3>; /* CSD_TIME_CON1 */
			8  = <0x0050 0 32 0x15010111 IDX_FIX_VAL 3>; /* CSD_CRC_CON0 */
			9  = <0x0054 0 32 0x0000000F IDX_FIX_VAL 3>; /* CSD_CRC_CON1 */
			10 = <0x0070 0 32 0x00000030 IDX_FIX_VAL 3>; /* CSD_TEST_CON0 */
		};

		eq {
			0 {
				0  = <0x0008 0 32 0xECD2103B IDX_FIX_VAL 3>; /* CSD_ANA_CON0 */

				/* Data enable should be set at last */
				1 = <0x0000 0 1 0x00000001 IDX_FIX_VAL 3>; /* CSD_GNR_CON0 */
			};

			1500 {
				0  = <0x0008 0 32 0xECD2103B IDX_FIX_VAL 3>; /* CSD_ANA_CON0 */

				/* Data enable should be set at last */
				1 = <0x0000 0 1 0x00000001 IDX_FIX_VAL 3>; /* CSD_GNR_CON0 */
			};

			2000 {
				0  = <0x0008 0 32 0xECD2103B IDX_FIX_VAL 3>; /* CSD_ANA_CON0 */

				/* Data enable should be set at last */
				1 = <0x0000 0 1 0x00000001 IDX_FIX_VAL 3>; /* CSD_GNR_CON0 */
			};

			2500 {
				0  = <0x0008 0 32 0xECB1107B IDX_FIX_VAL 3>; /* CSD_ANA_CON0 */

				/* Data enable should be set at last */
				1 = <0x0000 0 1 0x00000001 IDX_FIX_VAL 3>; /* CSD_GNR_CON0 */
			};

			3000 {
				0  = <0x0008 0 32 0xECB1107B IDX_FIX_VAL 3>; /* CSD_ANA_CON0 */

				/* Data enable should be set at last */
				1 = <0x0000 0 1 0x00000001 IDX_FIX_VAL 3>; /* CSD_GNR_CON0 */
			};

			3500 {
				0  = <0x0008 0 32 0xECB1107B IDX_FIX_VAL 3>; /* CSD_ANA_CON0 */

				/* Data enable should be set at last */
				1 = <0x0000 0 1 0x00000001 IDX_FIX_VAL 3>; /* CSD_GNR_CON0 */
			};
		};
	};
};
